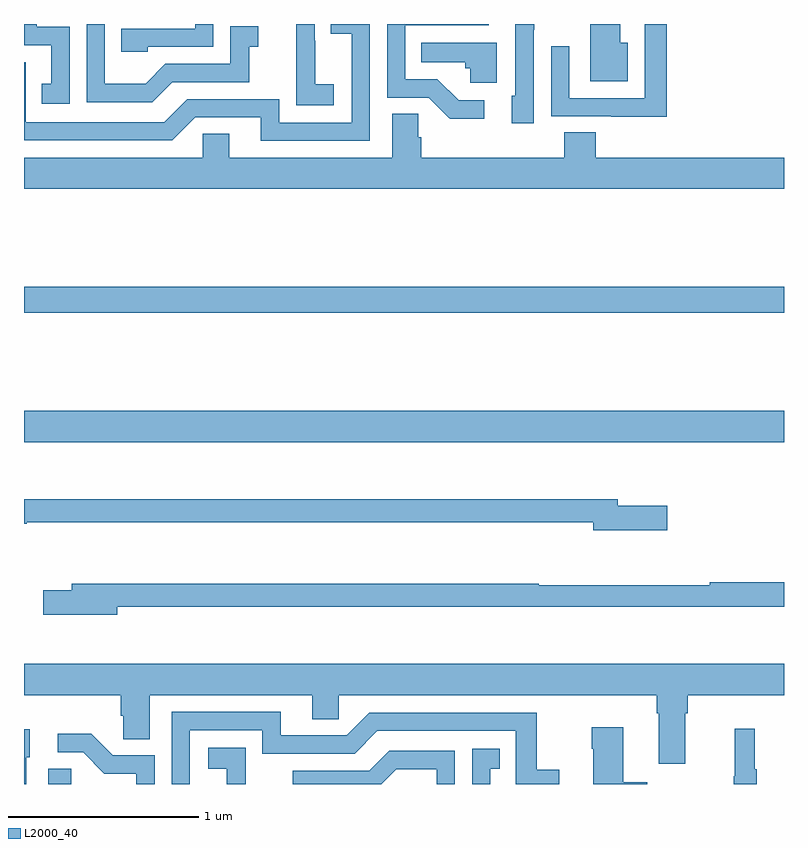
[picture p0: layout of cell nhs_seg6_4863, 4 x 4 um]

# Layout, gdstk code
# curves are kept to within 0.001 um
import gdstk
lib = gdstk.Library(unit=1e-6, precision=1e-09)
def R(c, l, rs):  # rectangles x0, y0, x1, y1
    for r in rs: c.add(gdstk.rectangle(r[:2], r[2:], *l))
def P(c, l, *ps):  # polygons
    for p in ps: c.add(gdstk.Polygon(p, *l))
L2000_40 = (2000, 40)

nhs_seg6_4863 = lib.new_cell('nhs_seg6_4863')
R(nhs_seg6_4863, L2000_40, [(399.128,981.5,399.249,981.581), (399,983.3,403,983.464), (399,983.98,403,984.116)])
P(nhs_seg6_4863, L2000_40, [(402.383,985.5),(402.267,985.5),(402.267,985.11),(401.871,985.11),(401.871,985.384),(401.775,985.384),(401.775,985.014),(402.091,985.014),(402.091,985.013),(402.383,985.013)],
  [(400.63,985.183),(400.532,985.183),(400.532,985.412),(400.53,985.412),(400.53,985.5),(400.433,985.5),(400.433,985.279),(400.432,985.279),(400.432,985.073),(400.63,985.073)],
  [(399.651,985.38),(399.996,985.38),(399.996,985.5),(399.9,985.5),(399.9,985.476),(399.511,985.476),(399.511,985.353),(399.651,985.353)],
  [(401.682,985.471),(401.685,985.471),(401.685,985.5),(401.586,985.5),(401.586,985.122),(401.567,985.122),(401.567,984.978),(401.682,984.978)],
  [(400.821,985.5),(400.615,985.5),(400.615,985.45),(400.725,985.45),(400.725,984.981),(400.344,984.981),(400.344,985.104),(399.858,985.104),(399.738,984.984),(399.009,984.984),(399.009,985.299),(399,985.299),(399,984.888),(399.78,984.888),(399.9,985.008),(400.247,985.008),(400.247,984.885),(400.821,984.885)],
  [(399.781,985.194),(400.185,985.194),(400.185,985.379),(400.234,985.379),(400.234,985.489),(400.086,985.489),(400.086,985.29),(399.744,985.29),(399.64,985.186),(399.426,985.186),(399.426,985.5),(399.33,985.5),(399.33,985.089),(399.676,985.089)],
  [(402.178,985.402),(402.139,985.402),(402.139,985.5),(401.981,985.5),(401.981,985.199),(402.178,985.199)],
  [(399.24,985.485),(399.066,985.485),(399.066,985.5),(399,985.5),(399,985.389),(399.143,985.389),(399.143,985.185),(399.094,985.185),(399.094,985.08),(399.24,985.08)],
  [(401.422,985.098),(401.287,985.098),(401.176,985.209),(401.007,985.209),(401.007,985.494),(401.446,985.494),(401.446,985.5),(400.911,985.5),(400.911,985.113),(401.13,985.113),(401.243,985.001),(401.422,985.001)],
  [(401.488,985.402),(401.092,985.402),(401.092,985.298),(401.323,985.298),(401.323,985.266),(401.349,985.266),(401.349,985.19),(401.488,985.19)],
  [(403,984.796),(402.008,984.796),(402.008,984.929),(401.843,984.929),(401.843,984.796),(401.09,984.796),(401.09,984.905),(401.076,984.905),(401.076,985.028),(400.937,985.028),(400.937,984.796),(400.081,984.796),(400.081,984.923),(399.942,984.923),(399.942,984.796),(399,984.796),(399,984.632),(403,984.632)],
  [(402.385,982.965),(402.124,982.965),(402.124,982.999),(399,982.999),(399,982.87),(399.014,982.87),(399.014,982.878),(401.996,982.878),(401.996,982.835),(402.385,982.835)],
  [(399.49,982.434),(403,982.434),(403,982.562),(402.61,982.562),(402.61,982.547),(401.71,982.547),(401.71,982.555),(399.251,982.555),(399.251,982.521),(399.102,982.521),(399.102,982.391),(399.49,982.391)],
  [(402.481,981.872),(402.494,981.872),(402.494,981.968),(403,981.968),(403,982.132),(399,982.132),(399,981.968),(399.509,981.968),(399.509,981.859),(399.522,981.859),(399.522,981.736),(399.661,981.736),(399.661,981.968),(400.517,981.968),(400.517,981.841),(400.656,981.841),(400.656,981.968),(402.329,981.968),(402.329,981.872),(402.341,981.872),(402.341,981.606),(402.481,981.606)],
  [(399.873,981.783),(400.254,981.783),(400.254,981.66),(400.74,981.66),(400.86,981.78),(401.589,981.78),(401.589,981.5),(401.816,981.5),(401.816,981.574),(401.698,981.574),(401.698,981.876),(400.818,981.876),(400.698,981.756),(400.351,981.756),(400.351,981.879),(399.777,981.879),(399.777,981.5),(399.873,981.5)],
  [(402.281,981.509),(402.154,981.509),(402.154,981.799),(401.989,981.799),(401.989,981.686),(401.996,981.686),(401.996,981.5),(402.281,981.5)],
  [(402.856,981.577),(402.845,981.577),(402.845,981.79),(402.742,981.79),(402.742,981.54),(402.735,981.54),(402.735,981.5),(402.856,981.5)],
  [(399.012,981.642),(399.031,981.642),(399.031,981.787),(399,981.787),(399,981.5),(399.012,981.5)],
  [(399.687,981.651),(399.468,981.651),(399.355,981.764),(399.177,981.764),(399.177,981.666),(399.311,981.666),(399.422,981.555),(399.591,981.555),(399.591,981.5),(399.687,981.5)],
  [(400.167,981.691),(399.969,981.691),(399.969,981.581),(400.067,981.581),(400.067,981.5),(400.167,981.5)],
  [(401.455,981.579),(401.504,981.579),(401.504,981.685),(401.358,981.685),(401.358,981.5),(401.455,981.5)],
  [(400.958,981.578),(401.172,981.578),(401.172,981.5),(401.268,981.5),(401.268,981.675),(400.922,981.675),(400.817,981.57),(400.414,981.57),(400.414,981.5),(400.88,981.5)])

lib.write_gds('nhs_seg6_4863.gds')
